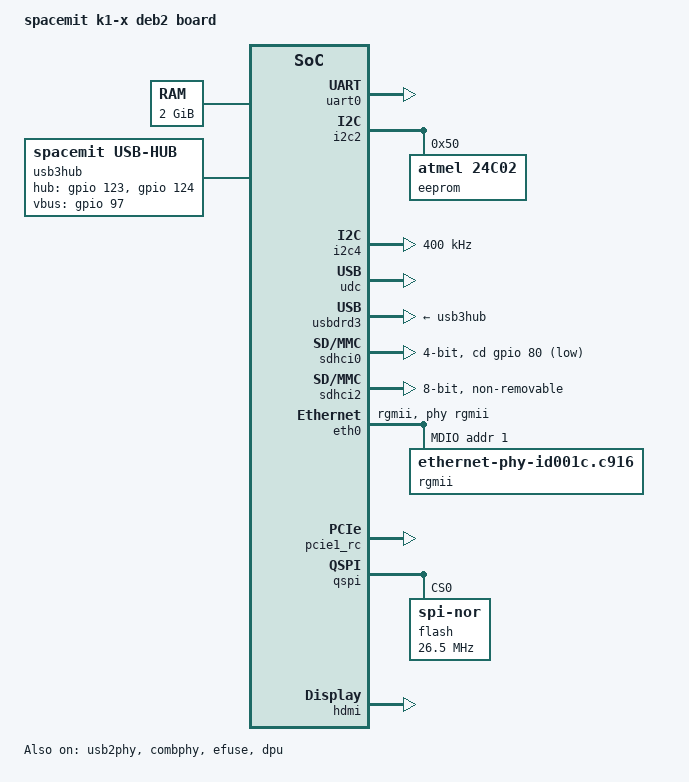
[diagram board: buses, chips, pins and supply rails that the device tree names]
// SPDX-License-Identifier: (GPL-2.0 OR MIT)
/* Copyright (c) 2023 Spacemit, Inc */

/dts-v1/;

#include "k1-x.dtsi"
#include "k1-x_pinctrl.dtsi"
#include "k1-x_pm853.dtsi"

/ {
	model = "spacemit k1-x deb2 board";

	aliases {
		efuse_power = &ldo_15;
	};

	memory@0 {
		device_type = "memory";
		reg = <0x00000000 0x00000000 0x00000000 0x80000000>;
	};

	chosen {
		bootargs = "earlycon=sbi console=ttyS0,115200 debug loglevel=8,initcall_debug=1 rdinit=/init.tmp";
		stdout-path = "serial0:115200n8";
	};

	usb3hub:usb3hub {
		compatible = "spacemit,usb-hub";
		hub-gpios = <
			&gpio 123 0	/* usb3 hub en */
			&gpio 124 0>;	/* usb3 hub rst*/
		vbus-gpios = <&gpio 97 0>;	/* gpio_97 for usb3 hub output vbus */
		regulator-force-boot-off;
		status = "okay";
	};
};

&cpu_0 {
	/* boot frequency for cluster-0, should be 1600000, 1228000, 819000, or 614000 */
	boot_freq_cluster0 = <1228000>;
	/* boot frequency for cluster-1, should be 1600000, 1228000, 819000, or 614000 */
	boot_freq_cluster1 = <1228000>;
};

&dramc {
	/* dram data rate, should be 1200, 1600, or 2400 */
	datarate = <2400>;
};

&cpus {
	timebase-frequency = <24000000>;
};

&uart0 {
	status = "okay";
};

&i2c0 {
	status = "disabled";
};

&i2c1 {
	status = "disabled";
};

&i2c2 {
	#address-cells = <1>;
        #size-cells = <0>;
        pinctrl-names = "default";
        pinctrl-0 = <&pinctrl_i2c2_0>;
        status = "okay";

        eeprom@50{
                compatible = "atmel,24c02";
                reg = <0x50>;
                status = "okay";
        };
};

&i2c3 {
	status = "disabled";
};

&i2c4 {
	clock-frequency = <400000>;
	status = "okay";
};

&i2c5 {
	status = "disabled";
};

&i2c6 {
        status = "disabled";
};

&i2c7 {
	status = "disabled";
};

&pinctrl {
	pinctrl-single,gpio-range = <
		&range GPIO_49  2 (MUX_MODE0 | EDGE_NONE | PULL_UP   | PAD_3V_DS4)
		&range GPIO_58  1 (MUX_MODE0 | EDGE_NONE | PULL_DOWN | PAD_1V8_DS2)
		&range GPIO_63  2 (MUX_MODE0 | EDGE_NONE | PULL_DOWN | PAD_1V8_DS2)
		&range GPIO_65  1 (MUX_MODE0 | EDGE_NONE | PULL_UP   | PAD_1V8_DS2)
		&range GPIO_66  2 (MUX_MODE0 | EDGE_NONE | PULL_DOWN | PAD_1V8_DS2)
		&range PRI_TDI  2 (MUX_MODE1 | EDGE_NONE | PULL_UP   | PAD_1V8_DS2)
		&range PRI_TCK  1 (MUX_MODE1 | EDGE_NONE | PULL_DOWN | PAD_1V8_DS2)
		&range PRI_TDO  1 (MUX_MODE1 | EDGE_NONE | PULL_UP   | PAD_1V8_DS2)
		&range GPIO_74  1 (MUX_MODE0 | EDGE_NONE | PULL_UP   | PAD_1V8_DS2)
		&range GPIO_80  1 (MUX_MODE0 | EDGE_NONE | PULL_UP   | PAD_3V_DS4)
		&range GPIO_81  3 (MUX_MODE0 | EDGE_NONE | PULL_UP   | PAD_1V8_DS2)
		&range GPIO_90  1 (MUX_MODE0 | EDGE_NONE | PULL_DOWN | PAD_1V8_DS2)
		&range GPIO_91  2 (MUX_MODE0 | EDGE_NONE | PULL_UP   | PAD_1V8_DS2)
		&range DVL0     2 (MUX_MODE1 | EDGE_NONE | PULL_DOWN | PAD_1V8_DS2)
		&range GPIO_110 1 (MUX_MODE0 | EDGE_NONE | PULL_DOWN | PAD_1V8_DS2)
		&range GPIO_114 1 (MUX_MODE0 | EDGE_NONE | PULL_DOWN | PAD_1V8_DS2)
		&range GPIO_115 2 (MUX_MODE0 | EDGE_NONE | PULL_DOWN | PAD_1V8_DS2)
		&range GPIO_123 1 (MUX_MODE0 | EDGE_NONE | PULL_DOWN | PAD_1V8_DS2)
		&range GPIO_124 1 (MUX_MODE0 | EDGE_NONE | PULL_UP   | PAD_1V8_DS2)
		&range GPIO_125 3 (MUX_MODE0 | EDGE_NONE | PULL_DOWN | PAD_1V8_DS2)
	>;

	usbp1_vbus: usbp1_vbus {
		pinctrl-single,pins =<
			K1X_PADCONF(GPIO_66, MUX_MODE0, (EDGE_NONE | PULL_UP | PAD_1V8_DS2))    /* drive_vbus1_iso */
		>;
	};

	gpio80_pmx_func0: gpio80_pmx_func0 {
		pinctrl-single,pins = <
			K1X_PADCONF(GPIO_80, MUX_MODE0, (EDGE_BOTH | PULL_UP | PAD_3V_DS4))  /* mmc cd */
		>;
	};
};

&gpio{
	gpio-ranges = <
		&pinctrl 49 GPIO_49 2
		&pinctrl 58 GPIO_58 1
		&pinctrl 63 GPIO_63 5
		&pinctrl 70 PRI_TDI 4
		&pinctrl 74 GPIO_74 1
		&pinctrl 80 GPIO_80 4
		&pinctrl 90 GPIO_90 3
		&pinctrl 96 DVL0 2
		&pinctrl 110 GPIO_110 1
		&pinctrl 114 GPIO_114 3
		&pinctrl 123 GPIO_123 5
	>;
};

&udc {
	status = "okay";
};

&usb2phy {
	status = "okay";
};

&combphy {
	status = "okay";
};

&usbdrd3 {
	status = "okay";
	vbus-supply = <&usb3hub>;
	dwc3@c0a00000 {
		dr_mode = "host";
		phy_type = "utmi";
		snps,dis_enblslpm_quirk;
		snps,dis-u2-freeclk-exists-quirk;
		snps,dis-del-phy-power-chg-quirk;
		snps,dis_u2_susphy_quirk;
		snps,dis_u3_susphy_quirk;
	};
};

&sdhci0 {
	pinctrl-names = "default";
	pinctrl-0 = <&pinctrl_mmc1 &gpio80_pmx_func0>;
	bus-width = <4>;
	cd-gpios = <&gpio 80 0>;
	cd-inverted;
	cap-sd-highspeed;
	sdh-phy-module = <0>;
	clk-src-freq = <204800000>;
	status = "okay";
};

/* eMMC */
&sdhci2 {
	bus-width = <8>;
	non-removable;
	mmc-hs400-1_8v;
	mmc-hs400-enhanced-strobe;
	sdh-phy-module = <1>;
	clk-src-freq = <375000000>;
	status = "okay";
};

&eth0 {
	status = "okay";
	pinctrl-names = "default";
	pinctrl-0 = <&pinctrl_gmac0>;

	phy-reset-pin = <110>;

	clk_tuning_enable;
	clk-tuning-by-delayline;
	tx-phase = <90>;
	rx-phase = <73>;

	phy-mode = "rgmii";
	phy-addr = <1>;
	phy-handle = <&rgmii>;

	ref-clock-from-phy;

	mdio {
		#address-cells = <0x1>;
		#size-cells = <0x0>;
		rgmii: phy@0 {
			compatible = "ethernet-phy-id001c.c916";
			device_type = "ethernet-phy";
			reg = <0x1>;
		};
	};
};

&pcie0_rc {
	status = "disabled";
};

&pcie1_rc {
	pinctrl-names = "default";
	pinctrl-0 = <&pinctrl_pcie1_3>;
	status = "okay";
};

&qspi {
        status = "okay";
        pinctrl-names = "default";
        pinctrl-0 = <&pinctrl_qspi>;

        flash@0 {
                compatible = "jedec,spi-nor";
                reg = <0>;
                spi-max-frequency = <26500000>;
                m25p,fast-read;
                broken-flash-reset;
                status = "okay";
        };
};

&efuse {
	status = "okay";
};

&dpu {
	status = "okay";
};

&hdmi {
	pinctrl-names = "default";
	pinctrl-0 = <&pinctrl_hdmi_0>;
	status = "okay";
};

&mipi_dsi {
	status = "disabled";
};

&panel {
	dcp-gpios = <&gpio 82 0>;
	dcn-gpios = <&gpio 83 0>;
	bl-gpios = <&gpio 44 0>;
	reset-gpios = <&gpio 81 0>;
	status = "disabled";
};
